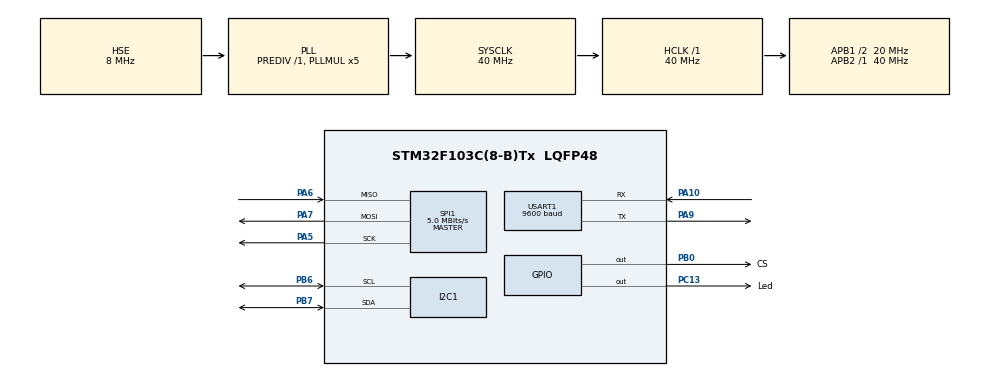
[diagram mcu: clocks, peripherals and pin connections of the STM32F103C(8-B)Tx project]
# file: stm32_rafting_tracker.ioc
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Dma.Request0=USART1_RX
Dma.USART1_RX.0.Direction=DMA_PERIPH_TO_MEMORY
Dma.USART1_RX.0.Instance=DMA1_Channel5
Dma.USART1_RX.0.MemDataAlignment=DMA_MDATAALIGN_BYTE
Dma.USART1_RX.0.MemInc=DMA_MINC_ENABLE
Dma.USART1_RX.0.Mode=DMA_CIRCULAR
Dma.USART1_RX.0.PeriphDataAlignment=DMA_PDATAALIGN_BYTE
Dma.USART1_RX.0.PeriphInc=DMA_PINC_DISABLE
Dma.USART1_RX.0.Priority=DMA_PRIORITY_LOW
FATFS._MAX_SS=4096
FREERTOS.Tasks01=defaultTask,0,128,StartDefaultTask,Default,NULL,Dynamic,NULL,NULL;Usart1Rx,-2,128,StartUsart1Rx,Default,NULL,Dynamic,NULL,NULL
Mcu.Family=STM32F1
Mcu.Name=STM32F103C(8-B)Tx
Mcu.Package=LQFP48
NVIC.DMA1_Channel5_IRQn=true\:5\:0\:false\:false\:true\:true\:false\:true
NVIC.PriorityGroup=NVIC_PRIORITYGROUP_4
NVIC.TIM1_UP_IRQn=true\:0\:0\:false\:false\:true\:false\:false\:true
NVIC.TimeBase=TIM1_UP_IRQn
NVIC.TimeBaseIP=TIM1
NVIC.USART1_IRQn=true\:5\:0\:false\:true\:true\:1\:true\:true\:true
PA10.Mode=Asynchronous
PA10.Signal=USART1_RX
PA13.Mode=Serial_Wire
PA13.Signal=SYS_JTMS-SWDIO
PA14.Mode=Serial_Wire
PA14.Signal=SYS_JTCK-SWCLK
PA5.Mode=Full_Duplex_Master
PA5.Signal=SPI1_SCK
PA6.Mode=Full_Duplex_Master
PA6.Signal=SPI1_MISO
PA7.Mode=Full_Duplex_Master
PA7.Signal=SPI1_MOSI
PA9.Mode=Asynchronous
PA9.Signal=USART1_TX
PB0.GPIO_Label=CS
PB0.GPIO_Speed=GPIO_SPEED_FREQ_MEDIUM
PB0.Signal=GPIO_Output
PB6.Mode=I2C
PB6.Signal=I2C1_SCL
PB7.Mode=I2C
PB7.Signal=I2C1_SDA
PC13-TAMPER-RTC.GPIO_Label=Led
PC13-TAMPER-RTC.Signal=GPIO_Output
PD0-OSC_IN.Mode=HSE-External-Oscillator
PD0-OSC_IN.Signal=RCC_OSC_IN
PD1-OSC_OUT.Mode=HSE-External-Oscillator
PD1-OSC_OUT.Signal=RCC_OSC_OUT
ProjectManager.HeapSize=0x200
ProjectManager.StackSize=0x400
ProjectManager.TargetToolchain=STM32CubeIDE
RCC.AHBFreq_Value=40000000
RCC.APB1CLKDivider=RCC_HCLK_DIV2
RCC.APB1Freq_Value=20000000
RCC.APB1TimFreq_Value=40000000
RCC.APB2Freq_Value=40000000
RCC.APB2TimFreq_Value=40000000
RCC.HCLKFreq_Value=40000000
RCC.PLLMUL=RCC_PLL_MUL5
RCC.PLLSourceVirtual=RCC_PLLSOURCE_HSE
RCC.SYSCLKFreq_VALUE=40000000
RCC.SYSCLKSource=RCC_SYSCLKSOURCE_PLLCLK
RCC.USBFreq_Value=40000000
SPI1.BaudRatePrescaler=SPI_BAUDRATEPRESCALER_8
SPI1.CalculateBaudRate=5.0 MBits/s
SPI1.Direction=SPI_DIRECTION_2LINES
SPI1.Mode=SPI_MODE_MASTER
SPI1.VirtualType=VM_MASTER
USART1.BaudRate=9600
USART1.VirtualMode=VM_ASYNC
VP_FATFS_VS_Generic.Mode=User_defined
VP_FREERTOS_VS_CMSIS_V1.Mode=CMSIS_V1
VP_SYS_VS_tim1.Mode=TIM1
board=custom

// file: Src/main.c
/* USER CODE BEGIN Header */
/**
  ******************************************************************************
  * @file           : main.c
  * @brief          : Main program body
  ******************************************************************************
  * @attention
  *
  * <h2><center>&copy; Copyright (c) 2020 STMicroelectronics.
  * All rights reserved.</center></h2>
  *
  * This software component is licensed by ST under Ultimate Liberty license
  * SLA0044, the "License"; You may not use this file except in compliance with
  * the License. You may obtain a copy of the License at:
  *                             www.st.com/SLA0044
  *
  ******************************************************************************
  */
/* USER CODE END Header */

#include "main.h"
#include "cmsis_os.h"
#include "dma.h"
#include "fatfs.h"
#include "i2c.h"
#include "spi.h"
#include "usart.h"
#include "gpio.h"

void SystemClock_Config(void);
void MX_FREERTOS_Init(void);
static void MX_NVIC_Init(void);

int main(void)
{

  /* MCU Configuration--------------------------------------------------------*/

  /* Reset of all peripherals, Initializes the Flash interface and the Systick. */
  HAL_Init();

  /* Configure the system clock */
  SystemClock_Config();

  /* Initialize all configured peripherals */
  MX_GPIO_Init();
  MX_DMA_Init();
  MX_USART1_UART_Init();
  MX_FATFS_Init();
  MX_SPI1_Init();
  MX_I2C1_Init();

  /* Initialize interrupts */
  MX_NVIC_Init();

  /* Call init function for freertos objects (in freertos.c) */
  MX_FREERTOS_Init();
  /* Start scheduler */
  osKernelStart();

  /* We should never get here as control is now taken by the scheduler */
  /* Infinite loop */
  while (1)
  {

  }
}

void SystemClock_Config(void)
{
  RCC_OscInitTypeDef RCC_OscInitStruct = {0};
  RCC_ClkInitTypeDef RCC_ClkInitStruct = {0};

  /** Initializes the CPU, AHB and APB busses clocks
  */
  RCC_OscInitStruct.OscillatorType = RCC_OSCILLATORTYPE_HSE;
  RCC_OscInitStruct.HSEState = RCC_HSE_ON;
  RCC_OscInitStruct.HSEPredivValue = RCC_HSE_PREDIV_DIV1;
  RCC_OscInitStruct.HSIState = RCC_HSI_ON;
  RCC_OscInitStruct.PLL.PLLState = RCC_PLL_ON;
  RCC_OscInitStruct.PLL.PLLSource = RCC_PLLSOURCE_HSE;
  RCC_OscInitStruct.PLL.PLLMUL = RCC_PLL_MUL5;
  if (HAL_RCC_OscConfig(&RCC_OscInitStruct) != HAL_OK)
  {
    Error_Handler();
  }
  /** Initializes the CPU, AHB and APB busses clocks
  */
  RCC_ClkInitStruct.ClockType = RCC_CLOCKTYPE_HCLK|RCC_CLOCKTYPE_SYSCLK
                              |RCC_CLOCKTYPE_PCLK1|RCC_CLOCKTYPE_PCLK2;
  RCC_ClkInitStruct.SYSCLKSource = RCC_SYSCLKSOURCE_PLLCLK;
  RCC_ClkInitStruct.AHBCLKDivider = RCC_SYSCLK_DIV1;
  RCC_ClkInitStruct.APB1CLKDivider = RCC_HCLK_DIV2;
  RCC_ClkInitStruct.APB2CLKDivider = RCC_HCLK_DIV1;

  if (HAL_RCC_ClockConfig(&RCC_ClkInitStruct, FLASH_LATENCY_1) != HAL_OK)
  {
    Error_Handler();
  }
}

/**
  * @brief NVIC Configuration.
  * @retval None
  */
static void MX_NVIC_Init(void)
{
  /* USART1_IRQn interrupt configuration */
  HAL_NVIC_SetPriority(USART1_IRQn, 5, 0);
  HAL_NVIC_EnableIRQ(USART1_IRQn);
}

 /**
  * @brief  Period elapsed callback in non blocking mode
  * @note   This function is called  when TIM1 interrupt took place, inside
  * HAL_TIM_IRQHandler(). It makes a direct call to HAL_IncTick() to increment
  * a global variable "uwTick" used as application time base.
  * @param  htim : TIM handle
  * @retval None
  */
void HAL_TIM_PeriodElapsedCallback(TIM_HandleTypeDef *htim)
{
  if (htim->Instance == TIM1) {
    HAL_IncTick();
  }
}

void Error_Handler(void)
{
}

/************************ (C) COPYRIGHT STMicroelectronics *****END OF FILE****/

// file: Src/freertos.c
/* USER CODE BEGIN Header */
/**
  ******************************************************************************
  * File Name          : freertos.c
  * Description        : Code for freertos applications
  ******************************************************************************
  * @attention
  *
  * <h2><center>&copy; Copyright (c) 2020 STMicroelectronics.
  * All rights reserved.</center></h2>
  *
  * This software component is licensed by ST under Ultimate Liberty license
  * SLA0044, the "License"; You may not use this file except in compliance with
  * the License. You may obtain a copy of the License at:
  *                             www.st.com/SLA0044
  *
  ******************************************************************************
  */
/* USER CODE END Header */

#include "FreeRTOS.h"
#include "task.h"
#include "main.h"
#include "cmsis_os.h"

/* USER CODE BEGIN Includes */
#include "usart.h"
#include "i2c.h"
#include "spi.h"
#include "dma.h"
/* USER CODE END Includes */

/* USER CODE BEGIN PTD */
//uint8_t b1;
//uint8_t b2;
//
//typedef struct {
//	uint8_t usart;
//	uint8_t byte;
//} myMes;

/* $GPRMC
   * note: a siRF chipset will not support magnetic headers.
   * $GPRMC,hhmmss.ss,A,llll.ll,a,yyyyy.yy,a,x.x,x.x,ddmmyy,x.x,a*hh
   * ex: $GPRMC,230558.501,A,4543.8901,N,02112.7219,E,1.50,181.47,230213,,,A*66,
   *
   * WORDS:
   *  0    = $GPRMC - Recommended Minimum Specific GNSS Data
   *  1    = UTC of position fix
   *  2    = Data status (V=navigation receiver warning)
   *  3    = Latitude of fix
   *  4    = N or S
   *  5    = Longitude of fix
   *  6    = E or W
   *  7    = Speed over ground in knots
   *  8    = Track made good in degrees True, Bearing This indicates the direction that the device is currently moving in,
   *       from 0 to 360, measured in “azimuth”.
   *  9    = UT date
   *  10   = Magnetic variation degrees (Easterly var. subtracts from true course)
   *  11   = E or W
   *  12   = Checksum
   */

//typedef struct {
//	char Time[12];
//	char Status[2];
//	char SLatitude[16];
//	char NS[3];
//	char SLongitude[12];
//	char EW[3];
//	char SpeedKnot[8];
//	char Course[10];
//	char Data[12];
//	char MagneticCourse[12];
//	char EWCourse[3];
//	char Checksum[4];
//} myGPRMC;

/* USER CODE END PTD */

/* USER CODE BEGIN PD */

#define LCD_ADDR (0x27 << 1)

#define PIN_RS    (1 << 0)
#define PIN_EN    (1 << 2)
#define BACKLIGHT (1 << 3)

//#define LCD_BACKLIGHT 0x08
//#define LCD_NOBACKLIGHT 0x00

#define LCD_DELAY_MS 5

#define ARRAY_LEN(x)   (sizeof(x) / sizeof((x)[0]))

#define UART_DMA_BUFFER_SIZE 1024

/* USER CODE END PD */

/* USER CODE BEGIN Variables */

char Time[12]="";
char Status[2]="";
char SLatitude[16]="";
char NS[3]="";
char SLongitude[16]="";
char EW[3]="";
char SpeedKnot[8]="";
char Course[10]="";
char Data[12]="";
char MagneticCourse[12]="";
char EWCourse[3]="";
char Checksum[4]="";
int ComputedChecksum=0;

char *const GPRMC[]={Time,Status,SLatitude,NS,SLongitude,EW,SpeedKnot,Course,Data,MagneticCourse,EWCourse,Checksum,Checksum};
/* USER CODE END Variables */
osThreadId defaultTaskHandle;
osThreadId Usart1RxHandle;

/* USER CODE BEGIN FunctionPrototypes */

void Parser(unsigned char data)
{
	static uint8_t flagChecksum = 0;
	static unsigned char ByteCount=0xff;
	static unsigned int MsgType;
	static char *MsgTxt=(char*)&MsgType;

	static unsigned char ComaPoint=0xff;
	static unsigned char CharPoint=0;
	if(data=='$'){
		ByteCount=0;
		ComaPoint=0xff;
		MsgTxt=(char*)&MsgType;
		flagChecksum=ComputedChecksum=0;
		return;
	}
	if(ByteCount==0xff) return;
	ByteCount++;
	if(ByteCount<=1) {ComputedChecksum^=data;  return; }
	if(ByteCount<6&&ByteCount>1)
    {
        *MsgTxt=data;   //и делаем из него число
        MsgTxt++;
        ComputedChecksum^=data;
        return;
    }

	switch(MsgType)
        {
        case    0x434D5250:      		                   //GPRMC
        		if(data==',') {ComaPoint++; CharPoint=0; GPRMC[ComaPoint][0]=0; ComputedChecksum^=data; return;}
        		if(data=='*') {flagChecksum++; CharPoint=0;GPRMC[ComaPoint][CharPoint]=0;return;}
        		if(ComaPoint > ARRAY_LEN(GPRMC) || CharPoint > 16 || data=='\r' || data=='\n')
        		{
        			MsgType=0;return;
        		}

        		GPRMC[ComaPoint][CharPoint++]=data;
        		GPRMC[ComaPoint][CharPoint]=0;
        		if(flagChecksum==0) {ComputedChecksum^=data;}
        		else{snprintf(GPRMC[12], sizeof(GPRMC[12]), "%02X", ComputedChecksum);}
        		return;
//        case    0x434D524E:                             //GNRMC
//                if(data==',') {ComaPoint++;     CharPoint=0;RMC[ComaPoint][0]=0;return;}
//                if(data=='*') {MsgType=0;return;}
//                RMC[ComaPoint][CharPoint++]=data;
//                RMC[ComaPoint][CharPoint]=0;
//                return;
//        case    0x41474750:                             //PGGA
//        case    0x4147474e:                             //NGGA
//                if(data==',')  {ComaPoint++;    CharPoint=0;GGA[ComaPoint][0]=0;return;}
//                if(data=='*') {MsgType=0;return;}
//                GGA[ComaPoint][CharPoint++]=data;
//                GGA[ComaPoint][CharPoint]=0;
//                return;
//        case    0x47545650:             //PVTG
//                if(data==',')  {ComaPoint++;    CharPoint=0;VTG[ComaPoint][0]=0;return;}
//                if(data=='*') {return;}
//                VTG[ComaPoint][CharPoint++]=data;
//                VTG[ComaPoint][CharPoint]=0;
//                return;
//        case    0x4754564e:             //NVTG
//                if(data==',')  {ComaPoint++;    CharPoint=0;VTG[ComaPoint][0]=0;return;}
//                if(data=='*') {return;}
//                VTG[ComaPoint][CharPoint++]=data;
//                VTG[ComaPoint][CharPoint]=0;
//                return;
//        case    0x56534750:             //PGSV
//                if(data==',')  {ComaPoint++;    CharPoint=0;GSV[ComaPoint][0]=0;return;}
//                if(data=='*')  {GPS_COUNT=AsciiToInt(ViewSat);MsgType=0;return;}
//                GSV[ComaPoint][CharPoint++]=data;
//                GSV[ComaPoint][CharPoint]=0;
//                return;
//        case    0x5653474c:             //LGSV
//                if(data==',')  {ComaPoint++;    CharPoint=0;GSV[ComaPoint][0]=0;return;}
//                if(data=='*') {GLONAS_COUNT=AsciiToInt(ViewSat);MsgType=0;return;}
//                GSV[ComaPoint][CharPoint++]=data;
//                GSV[ComaPoint][CharPoint]=0;
//                return;
        default:        ByteCount=0xff;break;
        }
	ByteCount=0xff;
}

//void ProcessUartQueue(void)
//{
//	myMes w;
//	uint8_t scr[82]; // screen buffer
//	uint8_t buf[18];
//	uint8_t t1[18]; // temp buffer
//	uint8_t t2[18*3];
//	uint8_t oldusart=0;
//	uint8_t char_count=0;
//	uint8_t newline=0;
//	char str[512]={0};
//
//	//	  if(HAL_UART_Receive_DMA(&huart1, &b1,1)==HAL_OK)
//	if(HAL_UART_Receive_DMA(&huart1, (uint8_t*)str,512)==HAL_OK)
//	{
//		HAL_GPIO_TogglePin(Led_GPIO_Port, Led_Pin);
//	}
//
//	xQueueReceive( RecQHandle, &w, portMAX_DELAY );
//
//	if(oldusart!=w.usart || char_count>16)
//		{
//			oldusart=w.usart;
//			newline=1;
//			char_count=0;
//		}
//	buf[char_count++]=w.byte;
//
//	//	if(hUsbDeviceFS.dev_state==USBD_STATE_CONFIGURED)
//	//			{
//	//				HAL_GPIO_TogglePin(GPIOE, GPIO_PIN_13);
//					t1[0]=0;
//					t2[0]=0;
//					scr[0]=0;
//
//					if(newline==1)
//					{
//						newline=0;
//						sprintf((char *) &scr[0],"\n\rU%d ",w.usart);
//					}
//					else
//					{
//						sprintf((char *) &scr[0],"\rU%d ",w.usart);
//					}
//
//					// now print 16 bytes
//
//					for(int i=0;i<char_count;i++)
//						{
//							if(buf[i]>0x1f && buf[i]<0x7f)
//							{
//								sprintf((char *) &t2[0],"%c",buf[i]);
//							}
//							else
//							{
//								sprintf((char *) &t2[0],".");
//							}
//							strcat((char *)&t1[0],(char *)&t2[0]);
//						}
//					//padding
//					for(int i=char_count-1;i<16;i++)
//						{
//							sprintf((char *) &t2[0]," ");
//							strcat((char *)&t1[0],(char *)&t2[0]);
//						}
//					strcat((char *) &scr[0],(char *)&t1[0]);
//
//					// and hex
//					t2[0]=0;
//					for(int i=0;i<char_count;i++)
//						{
//							sprintf((char *) &t1[0]," %02X",buf[i]);
//							strcat((char *)&t2[0],(char *)&t1[0]);
//						}
//					strcat((char *) &scr[0],(char *)&t2[0]);
//		// Do you want some debug output?
//					sprintf((char *) &t1[0]," %d",char_count);
//					strcat((char *) &scr[0],(char *)&t1[0]);
//	//				CDC_Transmit_FS(&scr[0],strlen((char *)&scr[0]));
//
//	//			}
//
//}

//void SendTestMessage(void)
//{
//  	// StarWars
//
//	uint8_t c3po[]="Sir, the possibility of successfully navigating an asteroid field is approximately 3,720 to 1 \r\n";
//	HAL_UART_Transmit_DMA(&huart2,(uint8_t *)&c3po,sizeof(c3po)-1);
//
//}

//void LCD_GetAddr(void)
//{
//	HAL_StatusTypeDef res;
//	for(uint16_t i = 0; i < 128; i++) {
//		res = HAL_I2C_IsDeviceReady(&hi2c1, i << 1, 1, 10);
//		if(res == HAL_OK) {
//			char msg[64];
//			snprintf(msg, sizeof(msg), "0x%02X", i);
//		}
//	}
//}

HAL_StatusTypeDef LCD_SendInternal(uint8_t lcd_addr, uint8_t data,
                                   uint8_t flags) {
    HAL_StatusTypeDef res;
    for(int i=0;i<512;i++) {
//    for(;;) {
        res = HAL_I2C_IsDeviceReady(&hi2c1, lcd_addr, 1,
                                    HAL_MAX_DELAY);
        if(res == HAL_OK)
            break;
    }

    uint8_t up = data & 0xF0;
    uint8_t lo = (data << 4) & 0xF0;

    uint8_t data_arr[4];
    data_arr[0] = up|flags|BACKLIGHT|PIN_EN;
    data_arr[1] = up|flags|BACKLIGHT;
    data_arr[2] = lo|flags|BACKLIGHT|PIN_EN;
    data_arr[3] = lo|flags|BACKLIGHT;
    //I2C_HandleTypeDef *hi2c, uint16_t DevAddress, uint8_t *pData, uint16_t Size)
    res = HAL_I2C_Master_Transmit(&hi2c1, lcd_addr, data_arr,
                                  sizeof(data_arr), HAL_MAX_DELAY);
//    res = HAL_I2C_Master_Transmit_DMA(&hi2c1, lcd_addr, data_arr,
//                                     sizeof(data_arr));
    HAL_Delay(LCD_DELAY_MS);
    return res;
}

void LCD_SendCommand(uint8_t lcd_addr, uint8_t cmd) {
    LCD_SendInternal(lcd_addr, cmd, 0);
}

void LCD_SendData(uint8_t lcd_addr, uint8_t data) {
    LCD_SendInternal(lcd_addr, data, PIN_RS);
}

void LCD_Init(uint8_t lcd_addr) {
    // 4-bit mode, 2 lines, 5x7 format
    LCD_SendCommand(lcd_addr, 0b00110000);
    // display & cursor home (keep this!)
    LCD_SendCommand(lcd_addr, 0b00000010);
    // display on, right shift, underline off, blink off
    LCD_SendCommand(lcd_addr, 0b00001100);
    // clear display (optional here)
    LCD_SendCommand(lcd_addr, 0b00000001);
}

void LCD_SendString(uint8_t lcd_addr, char *str) {
    while(*str) {
        LCD_SendData(lcd_addr, (uint8_t)(*str));
        str++;
    }
}

void WriteToLCD(char *str, char *str2) {
	LCD_SendCommand(LCD_ADDR, 0b00000001);

    // set address to 0x00
	LCD_SendCommand(LCD_ADDR, 0b10000000);
	LCD_SendString(LCD_ADDR, str);

	// set address to 0x40
	LCD_SendCommand(LCD_ADDR, 0b11000000);
	LCD_SendString(LCD_ADDR, str2);
}

//void HAL_UART_RxCpltCallback(UART_HandleTypeDef *UartHandle)
//{
//	myMes m;
//
//	switch((uint32_t)UartHandle->Instance)
//	{
//		case (uint32_t)USART1:
//
//		  m.usart=1;
//		  m.byte=b1;
//		  xQueueSendFromISR( RecQHandle, &m, portMAX_DELAY  );
//		  // Do this need?
////		  HAL_UART_Receive_DMA(&huart1, &b1,1);
//		  break;
//		case (uint32_t)USART2:
//
//		  m.usart=2;
//		  m.byte=b2;
//		  xQueueSendFromISR( RecQHandle, &m, portMAX_DELAY  );
////		  HAL_UART_Receive_DMA(&huart2, &b2,1);
//			break;
//	}
//}

/* USER CODE END FunctionPrototypes */

void StartDefaultTask(void const * argument);
void StartUsart1Rx(void const * argument);

void MX_FREERTOS_Init(void); /* (MISRA C 2004 rule 8.1) */

/* GetIdleTaskMemory prototype (linked to static allocation support) */
void vApplicationGetIdleTaskMemory( StaticTask_t **ppxIdleTaskTCBBuffer, StackType_t **ppxIdleTaskStackBuffer, uint32_t *pulIdleTaskStackSize );

/* USER CODE BEGIN GET_IDLE_TASK_MEMORY */
static StaticTask_t xIdleTaskTCBBuffer;
static StackType_t xIdleStack[configMINIMAL_STACK_SIZE];

void vApplicationGetIdleTaskMemory( StaticTask_t **ppxIdleTaskTCBBuffer, StackType_t **ppxIdleTaskStackBuffer, uint32_t *pulIdleTaskStackSize )
{
  *ppxIdleTaskTCBBuffer = &xIdleTaskTCBBuffer;
  *ppxIdleTaskStackBuffer = &xIdleStack[0];
  *pulIdleTaskStackSize = configMINIMAL_STACK_SIZE;
  /* place for user code */
}
/* USER CODE END GET_IDLE_TASK_MEMORY */

void MX_FREERTOS_Init(void) {

  /* Create the thread(s) */
  /* definition and creation of defaultTask */
  osThreadDef(defaultTask, StartDefaultTask, osPriorityNormal, 0, 128);
  defaultTaskHandle = osThreadCreate(osThread(defaultTask), NULL);

  /* definition and creation of Usart1Rx */
  osThreadDef(Usart1Rx, StartUsart1Rx, osPriorityLow, 0, 128);
  Usart1RxHandle = osThreadCreate(osThread(Usart1Rx), NULL);

}

void StartDefaultTask(void const * argument)
{
  /* USER CODE BEGIN StartDefaultTask */
  LCD_Init(LCD_ADDR);
  char *const msg_arr[]={"Time","Status","SLatitude","NS","SLongitude","EW","SpeedKnot","Course","Data","MagneticCourse","EWCourse","Checksum","Calculated Checksum"};
  uint8_t cntr =0;
  /* Infinite loop */
  for(;;)
  {

  //char *const GPRMC[]={Time,Status,SLatitude,NS,SLongitude,EW,SpeedKnot,Course,Data,MagneticCourse,EWCourse,Checksum};

//	WriteToLCD(GPRMC[12], GPRMC[11]);
	  if(GPRMC[12] == GPRMC[11]) {
		  WriteToLCD(msg_arr[cntr], GPRMC[cntr]);
		  cntr = (cntr>=ARRAY_LEN(msg_arr)-3) ? 0 : cntr + 1;
		  HAL_GPIO_TogglePin(Led_GPIO_Port, Led_Pin);
	  }
	osDelay(5000);
  }
  /* USER CODE END StartDefaultTask */
}

void StartUsart1Rx(void const * argument)
{
  /* USER CODE BEGIN StartUsart1Rx */
  static uint8_t buffer[UART_DMA_BUFFER_SIZE];
  HAL_UART_Receive_DMA(&huart1, (uint8_t*)buffer, UART_DMA_BUFFER_SIZE);
  size_t dma_head = 0, dma_tail = 0;
  /* Infinite loop */
  for(;;)
  {
	  do
	  {
	      __disable_irq();
	      dma_tail = UART_DMA_BUFFER_SIZE - huart1.hdmarx->Instance->CNDTR;
	      __enable_irq();

	     if(dma_tail!=dma_head)
	     {
	       	if(dma_head < dma_tail)
	       	{
	   		    for(register size_t i=dma_head; i<dma_tail; i++)
	      	    {
	   		    	Parser(buffer[i]);
				}
			}
			else
			{
				for(register size_t i=dma_head; i<UART_DMA_BUFFER_SIZE; i++)
	  		    {
					Parser(buffer[i]);
	  		    }
				for(register size_t i=0; i<dma_tail; i++)
				{
					Parser(buffer[i]);

				}
			}
			dma_head=dma_tail;
		  }
	  }while(dma_head!=(UART_DMA_BUFFER_SIZE- huart1.hdmarx->Instance->CNDTR));

	osDelay(500);
  }

  /* USER CODE END StartUsart1Rx */
}

/************************ (C) COPYRIGHT STMicroelectronics *****END OF FILE****/
